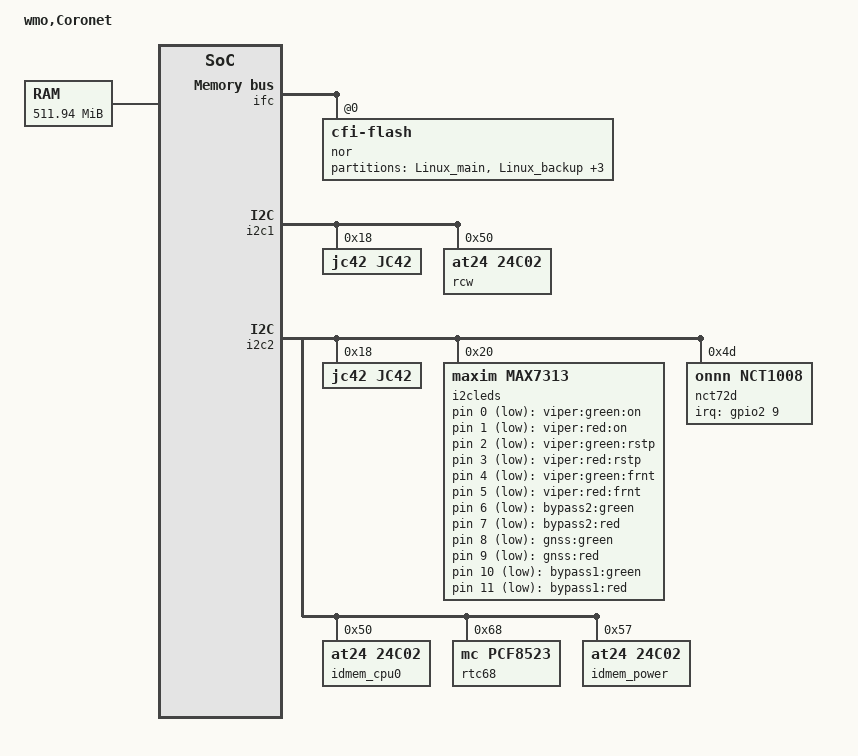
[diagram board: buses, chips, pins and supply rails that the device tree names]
/*
 * T1024 Coronet Device Tree Source, based on T1023 RDB
 *
 * Copyright 2014       Freescale Semiconductor Inc.
 * Copyright 2015-2017  Westermo Teleindustri AB
 *
 * Redistribution and use in source and binary forms, with or without
 * modification, are permitted provided that the following conditions are met:
 *     * Redistributions of source code must retain the above copyright
 *	 notice, this list of conditions and the following disclaimer.
 *     * Redistributions in binary form must reproduce the above copyright
 *	 notice, this list of conditions and the following disclaimer in the
 *	 documentation and/or other materials provided with the distribution.
 *     * Neither the name of Freescale Semiconductor nor the
 *	 names of its contributors may be used to endorse or promote products
 *	 derived from this software without specific prior written permission.
 *
 *
 * ALTERNATIVELY, this software may be distributed under the terms of the
 * GNU General Public License ("GPL") as published by the Free Software
 * Foundation, either version 2 of that License or (at your option) any
 * later version.
 *
 * THIS SOFTWARE IS PROVIDED BY Freescale Semiconductor "AS IS" AND ANY
 * EXPRESS OR IMPLIED WARRANTIES, INCLUDING, BUT NOT LIMITED TO, THE IMPLIED
 * WARRANTIES OF MERCHANTABILITY AND FITNESS FOR A PARTICULAR PURPOSE ARE
 * DISCLAIMED. IN NO EVENT SHALL Freescale Semiconductor BE LIABLE FOR ANY
 * DIRECT, INDIRECT, INCIDENTAL, SPECIAL, EXEMPLARY, OR CONSEQUENTIAL DAMAGES
 * (INCLUDING, BUT NOT LIMITED TO, PROCUREMENT OF SUBSTITUTE GOODS OR SERVICES;
 * LOSS OF USE, DATA, OR PROFITS; OR BUSINESS INTERRUPTION) HOWEVER CAUSED AND
 * ON ANY THEORY OF LIABILITY, WHETHER IN CONTRACT, STRICT LIABILITY, OR TORT
 * (INCLUDING NEGLIGENCE OR OTHERWISE) ARISING IN ANY WAY OUT OF THE USE OF THIS
 * SOFTWARE, EVEN IF ADVISED OF THE POSSIBILITY OF SUCH DAMAGE.
 */
#include <dt-bindings/gpio/gpio.h>
#include <dt-bindings/interrupt-controller/irq.h>
#include <dt-bindings/clock/fsl,qoriq-clockgen.h>

#include <t102xsi-pre.dtsi>

/ {
	family = "Viper";
	model = "wmo,Coronet";
	compatible = "wmo,coronet", "fsl,T1023RDB";
	#address-cells = <2>;
	#size-cells = <2>;
	interrupt-parent = <&mpic>;

	reserved-memory {
		#address-cells = <2>;
		#size-cells = <2>;
		ranges;

		bman_fbpr: bman-fbpr {
			size = <0 0x1000000>;
			alignment = <0 0x1000000>;
		};

		qman_fqd: qman-fqd {
			size = <0 0x400000>;
			alignment = <0 0x400000>;
		};

		qman_pfdr: qman-pfdr {
			size = <0 0x2000000>;
			alignment = <0 0x2000000>;
		};
	};

	ifc: localbus@ffe124000 {
		reg = <0xf 0xfe124000 0 0x2000>;
		ranges = <0 0 0xf 0xe8000000 0x08000000
			  1 0 0xf 0xff800000 0x00010000>;

		nor@0,0 {
			#address-cells = <1>;
			#size-cells = <1>;
			compatible = "cfi-flash";
			reg = <0x0 0x0 0x8000000>;
			bank-width = <2>;
			device-width = <1>;

			partition@0 {
				/* Primary image 56MB */
				reg = <0x00000000 0x3800000>;
				label = "Linux_main";
			};

			partition@3800000 {
				/* Secondary image 56MB */
				reg = <0x3800000 0x3800000>;
				label = "Linux_backup";
			};

			partition@7000000 {
				/* WeOS Config 15MB */
				reg = <0x7000000 0xf00000>;
				label = "Config";
			};

			partition@7F00000 {
				/* 512KB for Barebox Configuration */
				label = "BareboxEnv";
				reg = <0x07F00000 0x00080000>;
			};

			partition@7F80000 {
				/* This location must not be altered  */
				/* 512KB for u-boot Bootloader Image */
				reg = <0x07F80000 0x00080000>;
				label = "Barebox";
			};
		};
	};

	memory: memory@0 {
		device_type = "memory";
		reg = <0x0 0x0 0x0 0x1fff0000>; /* 512MB.*/
	};

	/* Following is to change from 36bit addresses to 32bit */
	dcsr: dcsr@f00000000 {
		ranges = <0x00000000 0xf 0x00000000 0x01072000>;
	};

	bportals: bman-portals@ff4000000 {
		ranges = <0x0 0xf 0xf4000000 0x2000000>;
	};

	qportals: qman-portals@ff6000000 {
		ranges = <0x0 0xf 0xf6000000 0x2000000>;
	};

	soc: soc@ffe000000 {
		ranges = <0x00000000 0xf 0xfe000000 0x1000000>;
		reg = <0xf 0xfe000000 0 0x00001000>;

		tmu@f0000 {
			compatible = "fsl,qoriq-tmu";
			reg = <0xf0000 0x1000>;

			fsl,tmu-range = <0x000b0000 0x000a0026 0x00080048 0x00030061>;
			fsl,tmu-calibration = <
			/* 12 points @ 0 C */
			0x00000000 0x0000000f
			0x00000001 0x00000017
			0x00000002 0x0000001e
			0x00000003 0x00000026
			0x00000004 0x0000002e
			0x00000005 0x00000035
			0x00000006 0x0000003d
			0x00000007 0x00000044
			0x00000008 0x0000004c
			0x00000009 0x00000053
			0x0000000a 0x0000005b
			0x0000000b 0x00000064

			/* 11 points @ 38 C */
			0x00010000 0x0000000d
			0x00010001 0x00000013
			0x00010002 0x00000024
			0x00010003 0x0000002b
			0x00010004 0x00000034
			0x00010005 0x00000039
			0x00010006 0x00000042
			0x00010007 0x0000004c
			0x00010008 0x00000051
			0x00010009 0x0000005a
			0x0001000a 0x00000063

			/* 9 points @ 72 C */
			0x00020000 0x00000025
			0x00020001 0x00000028
			0x00020002 0x0000002d
			0x00020003 0x00000031
			0x00020004 0x00000036
			0x00020005 0x0000003a
			0x00020006 0x00000040
			0x00020007 0x00000050
			0x00020008 0x00000059

			/* 4 points @ 97 C */
			0x00030000 0x00000002
			0x00030001 0x0000000d
			0x00030002 0x00000019
			0x00030003 0x00000024>;
		};

		thermal-zones {
		};

		spi@110000 {
			status = "disabled";
		};

		i2c1: i2c@118000 {
			jc42@18 {
				compatible = "jc42,jc42";
				reg = <0x18>;
			};

			rcw: eeprom@50 {
				compatible = "at24,24c02";
				read-only;
				reg = <0x50>;
			};
		};

		i2c2: i2c@118100 {
			jc42@18 {
				compatible = "jc42,jc42";
				reg = <0x18>;
			};

			i2cleds: max7314@20 {
				compatible = "maxim,max7313";
				reg = <0x20>;
				gpio-controller;
				#gpio-cells = <2>;
			};

			nct72d@4d {
				compatible = "onnn,nct1008";
				reg = <0x4d>;
				interrupt-parent = <&gpio2>;
				interrupts = <9 IRQ_TYPE_LEVEL_LOW>;
			};

			idmem_cpu0: eeprom@50 {
				compatible = "at24,24c02";
				read-only;
				reg = <0x50>;
			};

			rtc68: rtc@68 {
				compatible = "mc,pcf8523";
				reg = <0x68>;
			};

			idmem_power: eeprom@57 {
				compatible = "at24,24c02";
				read-only;
				reg = <0x57>;
			};
		};

		fman: fman@400000 {
			fm1mac1: ethernet@e0000 {
				status = "disabled";
				device_type = "network";
				phy-connection-type = "sgmii";
				fixed-link {
					speed = <1000>;
					full-duplex;
				};
			};

			fm1mac2: ethernet@e2000 {
				status = "disabled";
			};

			fm1mac3: ethernet@e4000 {
				status = "disabled";
			};

			fm1mac4: ethernet@e6000 {
				status = "disabled";
				device_type = "network";
				phy-connection-type = "rgmii";
				fixed-link {
					speed = <1000>;
					full-duplex;
				};
			};

			mdio0: mdio@fc000 {
				clocks = <&clockgen QORIQ_CLK_FMAN 0>;
				clock-frequency = <2500000>;
				suppress-preamble;
			};

			mdio1: mdio@fd000 {
				status = "disabled";
			};
		};

		watchdog:watchdog {
			compatible = "linux,wdt-gpio";
			hw_algo = "toggle";
			hw_margin_ms = <500>;
			timeout-sec = <60>;
			always-running;
		};

		gpio_leds: gpio-leds {
			compatible = "gpio-leds";

			on_green: on-green {
				label = "viper:green:on";
				gpios = <&i2cleds 0 GPIO_ACTIVE_LOW>;
				default-state = "off";
			};
			on_red: on-red {
				label = "viper:red:on";
				gpios = <&i2cleds 1 GPIO_ACTIVE_LOW>;
				default-state = "on";
			};
			rstp_green: rstp-green {
				label = "viper:green:rstp";
				gpios = <&i2cleds 2 GPIO_ACTIVE_LOW>;
				default-state = "off";
			};
			rstp_red: rstp-red {
				label = "viper:red:rstp";
				gpios = <&i2cleds 3 GPIO_ACTIVE_LOW>;
				default-state = "off";
			};
			frnt_green: frnt-green {
				label = "viper:green:frnt";
				gpios = <&i2cleds 4 GPIO_ACTIVE_LOW>;
				default-state = "off";
			};
			frnt_red: frnt-red {
				label = "viper:red:frnt";
				gpios = <&i2cleds 5 GPIO_ACTIVE_LOW>;
				default-state = "off";
			};

			bypass2_green: bypass2-green {
				label = "bypass2:green";
				gpios = <&i2cleds 6 GPIO_ACTIVE_LOW>;
				default-state = "off";
			};
			bypass2_red: bypass2-red {
				label = "bypass2:red";
				gpios = <&i2cleds 7 GPIO_ACTIVE_LOW>;
				default-state = "off";
			};

			gnss_green: gnss-green {
				label = "gnss:green";
				gpios = <&i2cleds 8 GPIO_ACTIVE_LOW>;
				default-state = "off";
			};
			gnss_red: gnss-red {
				label = "gnss:red";
				gpios = <&i2cleds 9 GPIO_ACTIVE_LOW>;
				default-state = "off";
			};

			bypass1_green: bypass1-green {
				label = "bypass1:green";
				gpios = <&i2cleds 10 GPIO_ACTIVE_LOW>;
				default-state = "off";
			};
			bypass1_red: bypass1-red {
				label = "bypass1:red";
				gpios = <&i2cleds 11 GPIO_ACTIVE_LOW>;
				default-state = "off";
			};
		};

		gpio-helper {
			compatible = "gpio-of-helper";
			status = "okay";
			pinctrl-names = "default";

			relay_status_1: relay_status_1   {
				gpio-name = "relay-status-1";
				input;
			};

			relay_status_2: relay_status_2   {
				gpio-name = "relay-status-2";
				input;
			};

			gnss_locked: gnss_locked   {
				gpio-name = "gnss-locked";
				input;
			};
			gps_antenna_power: gps_antenna_power   {
				gpio-name = "gps-antenna-power";
				output;
				init-low;
			};
		};

		dc1: dc1 {
			compatible = "gpio-charger";
			charger-type = "mains";
		};

		dc2: dc2 {
			compatible = "gpio-charger";
			charger-type = "mains";
		};

		usb@211000 {
			status = "disabled";
		};

		sdhc@114000 {
			status = "disabled";
		};
		sata@220000 {
			status = "disabled";
		};
	};

	pci0: pcie@ffe240000 {
		reg = <0xf 0xfe240000 0 0x10000>;
		status = "disabled";
		ranges = <0x02000000 0 0xe0000000 0xc 0x10000000 0 0x10000000
			  0x01000000 0 0x00000000 0xf 0xf8010000 0 0x00010000>;
	};

	pci1: pcie@ffe250000 {
		reg = <0xf 0xfe250000 0 0x10000>;
		status = "disabled";
		ranges = <0x02000000 0 0xe0000000 0xc 0x10000000 0 0x10000000
			  0x01000000 0 0x00000000 0xf 0xf8010000 0 0x00010000>;
	};

	pci2: pcie@ffe260000 {
		reg = <0xf 0xfe260000 0 0x10000>;
		status = "disabled";
		ranges = <0x02000000 0 0xe0000000 0xc 0x20000000 0 0x10000000
			  0x01000000 0 0x00000000 0xf 0xf8020000 0 0x00010000>;
	};

	chosen: chosen {
	};
};

#include <t1023si-post.dtsi>
#include <coronet/t1023-post.dtsi>
